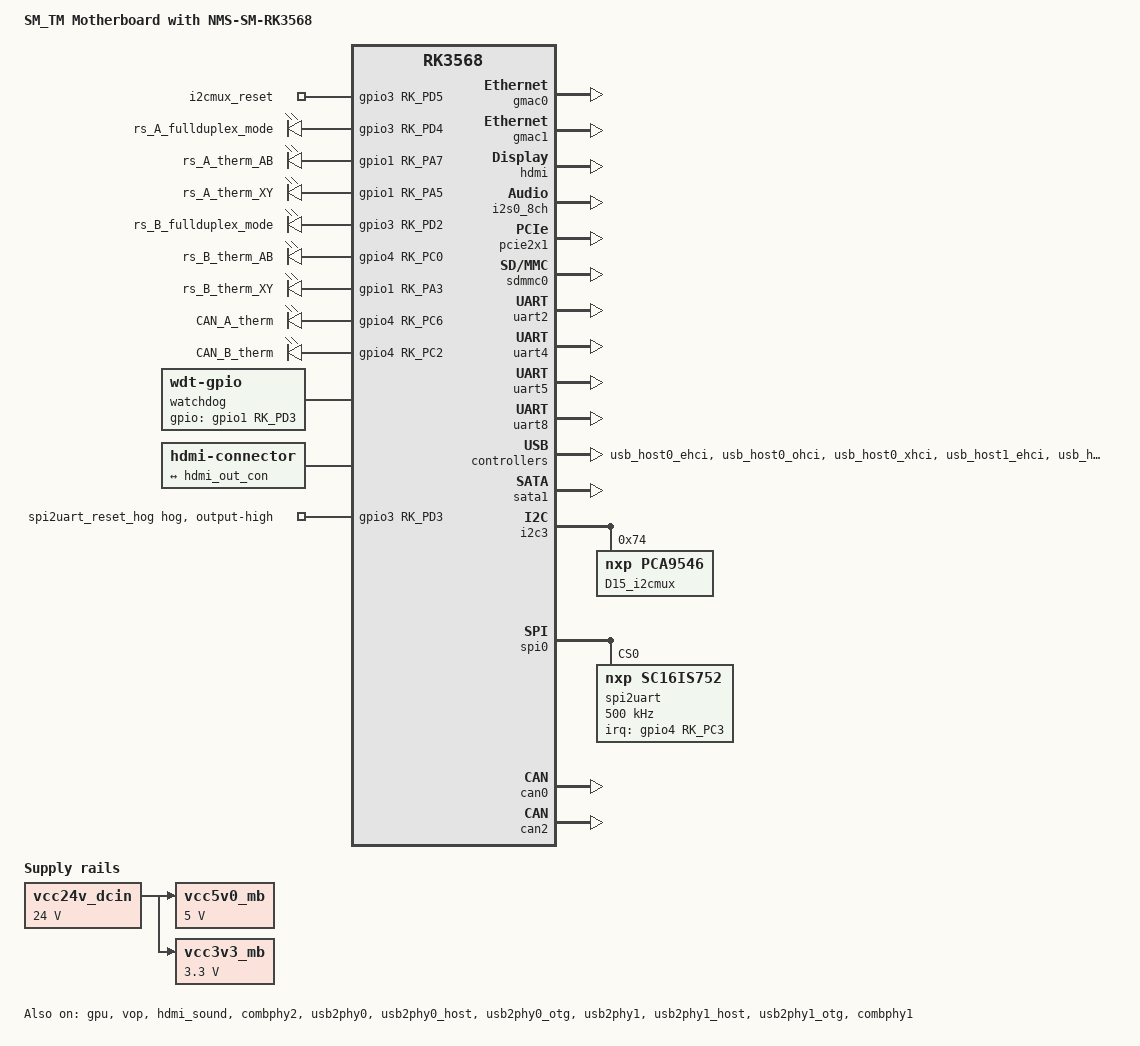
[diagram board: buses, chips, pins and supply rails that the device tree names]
// SPDX-License-Identifier: (GPL-2.0+ OR MIT)

/dts-v1/;
#include <dt-bindings/gpio/gpio.h>
#include <dt-bindings/leds/common.h>
#include <dt-bindings/pinctrl/rockchip.h>
#include <dt-bindings/soc/rockchip,vop2.h>
#include "rk3568-inmys-smarc-som_v2.dtsi"

/ {
	model = "SM_TM Motherboard with NMS-SM-RK3568";
	compatible = "telematika,rk3568-sm-tm", "inmys,rk3568-smarc-som", "rockchip,rk3568";

	leds {
		compatible = "gpio-leds";
	
		/* i2c mux on Mother board ( D15_i2cmux@74 )*/
		i2cmux_reset {
			gpios = <&gpio3 RK_PD5 GPIO_ACTIVE_HIGH>;
			default-state = "off"; //on - mux in reset, off - no reset on mux
		};
		
	};

	watchdog: watchdog {
		/* on stm8 MCU, by gpio */
		compatible = "linux,wdt-gpio";
		gpios = <&gpio1 RK_PD3 GPIO_ACTIVE_HIGH>;
		hw_algo = "toggle";
		hw_margin_ms = <1600>;
	};
		

	vcc24v_dcin: vcc24v-dcin {
		compatible = "regulator-fixed";
		regulator-name = "vcc24v_dcin";
		regulator-always-on;
		regulator-boot-on;
		regulator-min-microvolt = <24000000>;
		regulator-max-microvolt = <24000000>;
	};

	vcc5v0_mb: vcc5v0-mb {
		compatible = "regulator-fixed";
		regulator-name = "vcc5v0_mb";
		regulator-always-on;
		regulator-boot-on;
		regulator-min-microvolt = <5000000>;
		regulator-max-microvolt = <5000000>;
		vin-supply = <&vcc24v_dcin>;
	};

	vcc3v3_mb: vcc3v3-mb {
		compatible = "regulator-fixed";
		regulator-name = "vcc3v3_mb";
		regulator-always-on;
		regulator-boot-on;
		regulator-min-microvolt = <3300000>;
		regulator-max-microvolt = <3300000>;
		vin-supply = <&vcc24v_dcin>;
	};
};

&smarc_vdd_in{
	/* 5V to SOM */
	vin-supply = <&vcc5v0_mb>;
};

&gmac0 {
	status = "okay";
};

&gmac1 {
	status = "okay";
};


/* HDMI output */
/{
	hdmi-con {
		compatible = "hdmi-connector";
		type = "a";

		port {
			hdmi_con_in: endpoint {
				remote-endpoint = <&hdmi_out_con>;
			};
		};
	};
};

&gpu {
	status = "okay";
};

&hdmi {
	status = "okay";
};

&hdmi_in {
	hdmi_in_vp0: endpoint {
		remote-endpoint = <&vp0_out_hdmi>;
	};
};

&hdmi_out {
	hdmi_out_con: endpoint {
		remote-endpoint = <&hdmi_con_in>;
	};
};

&vop {
	status = "okay";
};

&vop_mmu {
	status = "okay";
};

&vp0 {
	vp0_out_hdmi: endpoint@ROCKCHIP_VOP2_EP_HDMI0 {
		reg = <ROCKCHIP_VOP2_EP_HDMI0>;
		remote-endpoint = <&hdmi_in_vp0>;
	};
};

&hdmi_sound {
	status = "okay";
};

&i2s0_8ch {
	status = "okay";
};


/* end HDMI */


/* mini PCIE connector */
&combphy2 {
	status = "okay";
};

&pcie2x1 {
	status = "okay";
};
/* end mini PCIE connector */


/* has no sdcard on Motherboard, but has in evm board: rm? */
&sdmmc0 {
	status = "okay";
};

&uart2 {
	status = "okay";
};

&uart4 {
	status = "okay";
};

&uart5 {
	status = "okay";
};

&uart8 {
	status = "okay";
};


/* usb*/
&usb2phy0 {
	status = "okay";
};

&usb2phy0_host {
	/*phy-supply = <&vcc5v0_usb_host>;*/
	status = "okay";
};

&usb2phy0_otg {
	/*phy-supply = <&vcc5v0_usb_otg>;*/
	status = "okay";
};

&usb_host0_ehci {
	status = "okay";
};

&usb_host0_ohci {
	status = "okay";
};

&usb_host0_xhci {
	/*extcon = <&usb2phy0>;*/
	status = "okay";
};


/* */
&usb2phy1 {
	status = "okay";
};

&usb2phy1_host {
	/*phy-supply = <&vcc5v0_usb_host>;*/
	status = "okay";
};

&usb2phy1_otg {
	/*phy-supply = <&vcc5v0_usb_host>;*/
	status = "okay";
};

&usb_host1_ehci {
	status = "okay";
};

&usb_host1_ohci {
	status = "okay";
};

&usb_host1_xhci {
	status = "okay";
};


/* SATA to m.2 connector */
&combphy1 {
	status = "okay";
};

&sata1 {
        status = "okay";
};
/* end SATA to m.2 connector */

/* SMARC: I2C_GP */
&i2c3{
	status = "okay";
	D15_i2cmux@74 {
		compatible = "nxp,pca9546";
		reg = <0x74>;
		#address-cells = <1>;
		#size-cells = <0>;
		// vcc-supply = <&regulator_i2c_3v3>;
		// vcc-pullup-supply = <&regulator_i2c_3v3>;
		i2c-mux-idle-disconnect;
		I2C_MPCI: ch@0 { /* to mini PCIE connector */
			reg = <0>;
			#address-cells = <1>;
			#size-cells = <0>;
		};
		I2C_GP_A: ch@1 { /* to stm8 (watchdog) */
			reg = <1>;
			#address-cells = <1>;
			#size-cells = <0>;
		};
		I2C_DSI0: ch@2 { /* not connected */
			reg = <2>;
			#address-cells = <1>;
			#size-cells = <0>;
		};
		I2C_DSI1: ch@3 { /* not connected */
			reg = <3>;
			#address-cells = <1>;
			#size-cells = <0>;
		};
	};
};

/{
	leds{
		/* rs485/422 A config pins*/
		rs_A_fullduplex_mode{
			gpios = <&gpio3 RK_PD4 GPIO_ACTIVE_HIGH>;
			default-state = "on"; //on - RS422, off - RS485
		};
		rs_A_therm_AB{
			gpios = <&gpio1 RK_PA7 GPIO_ACTIVE_HIGH>;
			default-state = "off"; //on - enable 120 Ohm resistor on AB line
		};
		rs_A_therm_XY{
			gpios = <&gpio1 RK_PA5 GPIO_ACTIVE_HIGH>;
			default-state = "off"; //on - enable 120 Ohm resistor on XY line
		};
		

		/* rs485/422 B config pins*/
		rs_B_fullduplex_mode {
			gpios = <&gpio3 RK_PD2 GPIO_ACTIVE_HIGH>;
			default-state = "on"; //on - RS422, off - RS485
		};
		rs_B_therm_AB {
			gpios = <&gpio4 RK_PC0 GPIO_ACTIVE_HIGH>;
			default-state = "on"; //on - enable 120 Ohm resistor on AB line
		};
		rs_B_therm_XY {
			gpios = <&gpio1 RK_PA3 GPIO_ACTIVE_HIGH>;
			default-state = "on"; //on - enable 120 Ohm resistor on XY line
		};
	};
};

&spi0 {
	status = "okay";
	spi2uart@0 {
		/* spi -> two rs485/422 (A,B) */
		compatible = "nxp,sc16is752";	
		reg = <0>; /*cs0*/
		spi-max-frequency = <500000>; /*sc16is752: max 4MHz*/
		clock-frequency = <14745600>;
		interrupt-parent = <&gpio4>;
		interrupts = <RK_PC3 IRQ_TYPE_LEVEL_LOW>; /* 8*2+3 */
	};
};


/{
	leds {
		/*CAN A config pins*/
		CAN_A_therm {
			gpios = <&gpio4 RK_PC6 GPIO_ACTIVE_HIGH>;
			default-state = "on"; //on - enable 120 Ohm resistor
		};

	};
};

&can0 { /* SMARC CAN0 -> CAN A */
	status = "okay";
};

/{
	leds {
		/*CAN B config pins*/
		CAN_B_therm {
			gpios = <&gpio4 RK_PC2 GPIO_ACTIVE_HIGH>;
			default-state = "on"; //on - enable 120 Ohm resistor
		};
	};
};

&can2 { /* SMARC CAN1 -> CAN B */
	status = "okay";
};

&sata_usb3_mux_hog {
	output-low; /* SMARC SATA1 */
	/*output-high;*/ /* SMARC USB3_HOST1_SS */

	/* selected SMARC SATA1 -> go to m.2 connector*/
};

&can_i2c2_mux_hog {
	output-low;  /* CAN */
	/* output-high; */ /* i2c */

	/* selected CAN -> CAN interface on pins S139/S140 */
};

&gpio3 {

	/* gpio ctrl on Mother board: spi->uart IC(spi2uart@0) reset*/
	spi2uart_reset_hog {
		gpio-hog;
		gpios = <RK_PD3 GPIO_ACTIVE_HIGH>;
		output-high; /*no reset */
	};
};

